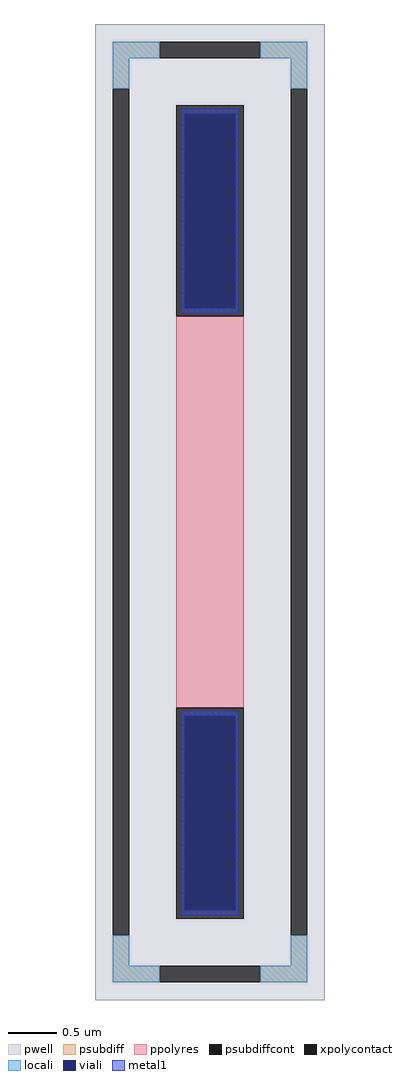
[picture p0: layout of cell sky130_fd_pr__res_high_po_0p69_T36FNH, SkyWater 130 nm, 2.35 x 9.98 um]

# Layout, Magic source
magic
tech sky130A
magscale 1 2
<< pwell >>
rect -235 -998 235 998
<< psubdiff >>
rect -199 928 -103 962
rect 103 928 199 962
rect -199 866 -165 928
rect 165 866 199 928
rect -199 -928 -165 -866
rect 165 -928 199 -866
rect -199 -962 -103 -928
rect 103 -962 199 -928
<< psubdiffcont >>
rect -103 928 103 962
rect -199 -866 -165 866
rect 165 -866 199 866
rect -103 -962 103 -928
<< xpolycontact >>
rect -69 400 69 832
rect -69 -832 69 -400
<< ppolyres >>
rect -69 -400 69 400
<< locali >>
rect -199 928 -103 962
rect 103 928 199 962
rect -199 866 -165 928
rect 165 866 199 928
rect -199 -928 -165 -866
rect 165 -928 199 -866
rect -199 -962 -103 -928
rect 103 -962 199 -928
<< viali >>
rect -53 417 53 814
rect -53 -814 53 -417
<< metal1 >>
rect -59 814 59 826
rect -59 417 -53 814
rect 53 417 59 814
rect -59 405 59 417
rect -59 -417 59 -405
rect -59 -814 -53 -417
rect 53 -814 59 -417
rect -59 -826 59 -814
<< properties >>
string FIXED_BBOX -182 -945 182 945
string gencell sky130_fd_pr__res_high_po_0p69
string library sky130
string parameters w 0.690 l 4.16 m 1 nx 1 wmin 0.690 lmin 0.50 rho 319.8 val 2.492k dummy 0 dw 0.0 term 194.82 sterm 0.0 caplen 0 guard 1 glc 1 grc 1 gtc 1 gbc 1 compatible {sky130_fd_pr__res_high_po_0p35  sky130_fd_pr__res_high_po_0p69 sky130_fd_pr__res_high_po_1p41  sky130_fd_pr__res_high_po_2p85 sky130_fd_pr__res_high_po_5p73} snake 0 full_metal 1 wmax 0.690 n_guard 0 hv_guard 0 vias 1 viagb 0 viagt 0 viagl 0 viagr 0
<< end >>
